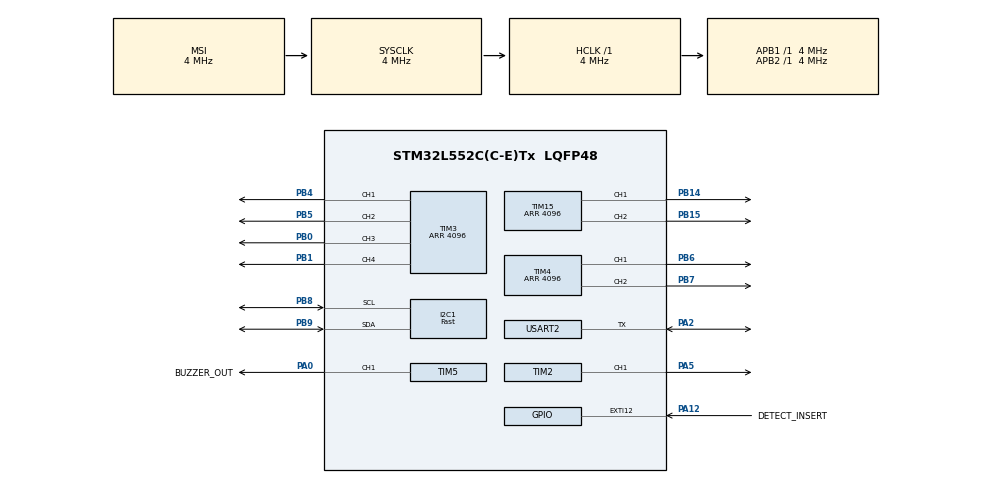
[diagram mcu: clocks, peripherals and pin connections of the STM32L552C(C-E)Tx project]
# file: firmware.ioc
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I2C1.I2C_Speed_Mode=I2C_Fast
I2C1.Timing=0x00000004
Mcu.Family=STM32L5
Mcu.Name=STM32L552C(C-E)Tx
Mcu.Package=LQFP48
NVIC.EXTI12_IRQn=true\:0\:0\:false\:false\:true\:true\:true\:true
NVIC.PriorityGroup=NVIC_PRIORITYGROUP_3
PA0.GPIO_Label=BUZZER_OUT
PA0.Signal=S_TIM5_CH1
PA12.GPIO_Label=DETECT_INSERT
PA12.GPIO_ModeDefaultEXTI=GPIO_MODE_IT_RISING_FALLING
PA12.GPIO_PuPd=GPIO_PULLUP
PA12.Signal=GPXTI12
PA13\ (JTMS/SWDIO).Mode=Serial_Wire
PA13\ (JTMS/SWDIO).Signal=DEBUG_JTMS-SWDIO
PA14\ (JTCK/SWCLK).Mode=Serial_Wire
PA14\ (JTCK/SWCLK).Signal=DEBUG_JTCK-SWCLK
PA2.Mode=Half_duplex(single_wire_mode)
PA2.Signal=USART2_TX
PA5.Signal=S_TIM2_CH1
PB0.Signal=S_TIM3_CH3
PB1.Signal=S_TIM3_CH4
PB14.Signal=S_TIM15_CH1
PB15.Signal=S_TIM15_CH2
PB4\ (NJTRST).Signal=S_TIM3_CH1
PB5.Signal=S_TIM3_CH2
PB6.Signal=S_TIM4_CH1
PB7.Signal=S_TIM4_CH2
PB8.GPIO_Pu=GPIO_PULLUP
PB8.Mode=I2C
PB8.Signal=I2C1_SCL
PB9.GPIO_Pu=GPIO_PULLUP
PB9.Mode=I2C
PB9.Signal=I2C1_SDA
ProjectManager.HeapSize=0x200
ProjectManager.StackSize=0x400
ProjectManager.TargetToolchain=STM32CubeIDE
RCC.AHBFreq_Value=4000000
RCC.APB1Freq_Value=4000000
RCC.APB1TimFreq_Value=4000000
RCC.APB2Freq_Value=4000000
RCC.APB2TimFreq_Value=4000000
RCC.CortexFreq_Value=4000000
RCC.HCLKFreq_Value=4000000
RCC.HSE_VALUE=16000000
RCC.HSI48_VALUE=48000000
RCC.HSI_VALUE=16000000
RCC.LSE_VALUE=32768
RCC.MSI_VALUE=4000000
RCC.PLLM=4
RCC.PLLN=16
RCC.PLLR=RCC_PLLR_DIV8
RCC.PLLSourceVirtual=RCC_PLLSOURCE_HSI
RCC.SYSCLKFreq_VALUE=4000000
RCC.VCOOutputFreq_Value=64000000
SH.S_TIM15_CH1.0=TIM15_CH1,PWM Generation1 CH1
SH.S_TIM15_CH2.0=TIM15_CH2,PWM Generation2 CH2
SH.S_TIM2_CH1.0=TIM2_CH1,PWM Generation1 CH1
SH.S_TIM3_CH1.0=TIM3_CH1,PWM Generation1 CH1
SH.S_TIM3_CH2.0=TIM3_CH2,PWM Generation2 CH2
SH.S_TIM3_CH3.0=TIM3_CH3,PWM Generation3 CH3
SH.S_TIM3_CH4.0=TIM3_CH4,PWM Generation4 CH4
SH.S_TIM4_CH1.0=TIM4_CH1,PWM Generation1 CH1
SH.S_TIM4_CH2.0=TIM4_CH2,PWM Generation2 CH2
SH.S_TIM5_CH1.0=TIM5_CH1,PWM Generation1 CH1
TIM15.Channel-PWM\ Generation1\ CH1=TIM_CHANNEL_1
TIM15.Channel-PWM\ Generation2\ CH2=TIM_CHANNEL_2
TIM15.OCPolarity_1=TIM_OCPOLARITY_LOW
TIM15.OCPolarity_2=TIM_OCPOLARITY_LOW
TIM15.Period=4096
TIM15.Pulse-PWM\ Generation1\ CH1=4095
TIM15.Pulse-PWM\ Generation2\ CH2=0
TIM2.Channel-PWM\ Generation1\ CH1=TIM_CHANNEL_1
TIM2.OCPolarity_1=TIM_OCPOLARITY_LOW
TIM2.Period=4096
TIM2.Pulse-PWM\ Generation1\ CH1=0
TIM3.Channel-PWM\ Generation1\ CH1=TIM_CHANNEL_1
TIM3.Channel-PWM\ Generation2\ CH2=TIM_CHANNEL_2
TIM3.Channel-PWM\ Generation3\ CH3=TIM_CHANNEL_3
TIM3.Channel-PWM\ Generation4\ CH4=TIM_CHANNEL_4
TIM3.OCPolarity_1=TIM_OCPOLARITY_LOW
TIM3.OCPolarity_2=TIM_OCPOLARITY_LOW
TIM3.OCPolarity_3=TIM_OCPOLARITY_LOW
TIM3.OCPolarity_4=TIM_OCPOLARITY_LOW
TIM3.Period=4096
TIM3.Pulse-PWM\ Generation1\ CH1=0
TIM3.Pulse-PWM\ Generation2\ CH2=0
TIM3.Pulse-PWM\ Generation3\ CH3=0
TIM3.Pulse-PWM\ Generation4\ CH4=4095
TIM4.Channel-PWM\ Generation1\ CH1=TIM_CHANNEL_1
TIM4.Channel-PWM\ Generation2\ CH2=TIM_CHANNEL_2
TIM4.OCPolarity_1=TIM_OCPOLARITY_LOW
TIM4.OCPolarity_2=TIM_OCPOLARITY_LOW
TIM4.Period=4096
TIM4.Pulse-PWM\ Generation1\ CH1=0
TIM4.Pulse-PWM\ Generation2\ CH2=0
TIM5.AutoReloadPreload=TIM_AUTORELOAD_PRELOAD_ENABLE
TIM5.Channel-PWM\ Generation1\ CH1=TIM_CHANNEL_1
TIM5.Period=5000
TIM5.Pulse-PWM\ Generation1\ CH1=200
USART2.BaudRate=9600
USART2.VirtualMode-Half_duplex(single_wire_mode)=VM_ASYNC
VP_ICACHE_VS_ICACHE.Mode=DirectMappedCache
VP_PWR_VS_DBSignals.Mode=DisableDeadBatterySignals
VP_PWR_VS_SECSignals.Mode=Security/Privilege
board=custom

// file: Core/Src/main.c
/* USER CODE BEGIN Header */
/**
  ******************************************************************************
  * @file           : main.c
  * @brief          : Main program body
  ******************************************************************************
  * @attention
  *
  * Copyright (c) 2023 STMicroelectronics.
  * All rights reserved.
  *
  * This software is licensed under terms that can be found in the LICENSE file
  * in the root directory of this software component.
  * If no LICENSE file comes with this software, it is provided AS-IS.
  *
  ******************************************************************************
  */
#define SSD1306_MIRROR_VERT
/* USER CODE END Header */
#include "main.h"

/* USER CODE BEGIN Includes */
#include "../../Drivers/SSD1306/ssd1306.h"
#include "../../Drivers/SSD1306/ssd1306_tests.h"
#include "images.h"
/* USER CODE END Includes */

/* USER CODE BEGIN PTD */
#include "math.h"
#include "stdbool.h"
/* USER CODE END PTD */

/* USER CODE BEGIN PD */
const int startSoundDelay = 7;
const int stopSoundDelay = 15;
const int sleepDelay = 100;
/* USER CODE END PD */

I2C_HandleTypeDef hi2c1;

TIM_HandleTypeDef htim2;
TIM_HandleTypeDef htim3;
TIM_HandleTypeDef htim4;
TIM_HandleTypeDef htim5;
TIM_HandleTypeDef htim15;

UART_HandleTypeDef huart2;

void SystemClock_Config(void);
static void MX_GPIO_Init(void);
static void MX_I2C1_Init(void);
static void MX_USART2_UART_Init(void);
static void MX_ICACHE_Init(void);
static void MX_TIM2_Init(void);
static void MX_TIM3_Init(void);
static void MX_TIM4_Init(void);
static void MX_TIM5_Init(void);
static void MX_TIM15_Init(void);

int main(void)
{

  /* MCU Configuration--------------------------------------------------------*/

  /* Reset of all peripherals, Initializes the Flash interface and the Systick. */
  HAL_Init();

  /* Configure the system clock */
  SystemClock_Config();

  /* Initialize all configured peripherals */
  MX_GPIO_Init();
  MX_I2C1_Init();
  MX_USART2_UART_Init();
  MX_ICACHE_Init();
  MX_TIM2_Init();
  MX_TIM3_Init();
  MX_TIM4_Init();
  MX_TIM5_Init();
  MX_TIM15_Init();
  /* USER CODE BEGIN 2 */
  int loops = 0;
  uint32_t lastTime = 0;
  enum Status {
      ERREUR,
      ROCKET
  };
    enum Status status = ERREUR;

    enum PCBStatus {
        PLUGGED,
        UNPLUGGED
    };
    enum PCBStatus oldStatus = PLUGGED;
    enum PCBStatus pcbStatus = UNPLUGGED;

    bool screenConnected = false;
    bool mustUpdateScreen = false;
    bool debouncedStart = true;
  /* USER CODE END 2 */

  /* Infinite loop */
  while (1)
  {

    /* USER CODE BEGIN 3 */

    HAL_TIM_Base_Start(&htim2);
    HAL_TIM_Base_Start(&htim3);
    HAL_TIM_Base_Start(&htim4);
    HAL_TIM_Base_Start(&htim5);
    HAL_TIM_Base_Start(&htim15);

    HAL_TIM_PWM_Start(&htim2, TIM_CHANNEL_1);
    HAL_TIM_PWM_Start(&htim3, TIM_CHANNEL_1);
    HAL_TIM_PWM_Start(&htim3, TIM_CHANNEL_2);
    HAL_TIM_PWM_Start(&htim3, TIM_CHANNEL_3);
    HAL_TIM_PWM_Start(&htim3, TIM_CHANNEL_4);
    HAL_TIM_PWM_Start(&htim4, TIM_CHANNEL_1);
    HAL_TIM_PWM_Start(&htim4, TIM_CHANNEL_2);
    HAL_TIM_PWM_Start(&htim15, TIM_CHANNEL_1);
    HAL_TIM_PWM_Start(&htim15, TIM_CHANNEL_2);

    if (!HAL_GPIO_ReadPin(DETECT_INSERT_GPIO_Port, DETECT_INSERT_Pin)) {
        pcbStatus = PLUGGED;
    } else {
        pcbStatus = UNPLUGGED;
    }

    if (is_screen_connected()) {
        if (!screenConnected) {
            ssd1306_Init();
            ssd1306_Fill(Black);
            ssd1306_UpdateScreen();
            mustUpdateScreen = true;
        }
        screenConnected = true;
    } else {
        screenConnected = false;
    }

    if (oldStatus != pcbStatus && pcbStatus == UNPLUGGED) {
        //debounce
        HAL_Delay(100);
        if (!HAL_GPIO_ReadPin(DETECT_INSERT_GPIO_Port, DETECT_INSERT_Pin)) {
            // Plugged
            continue;
        }
    }

    // PCB status changed!
    if (oldStatus != pcbStatus) {
        oldStatus = pcbStatus;
        loops = 0;
        lastTime = HAL_GetTick();

        // Turn off all leds
        leds_off();

        // Clear screen
        ssd1306_Fill(Black);
        ssd1306_UpdateScreen();

        // Stop any sound
        stop_sound();
    }

    if (pcbStatus == PLUGGED) {
        if (loops < startSoundDelay) {
            set_led(LED1B, 50);
            set_led(LED2B, 100);
            set_led(LED3B, 200);
            // DEBOUNCING
            HAL_Delay(100);
            loops++;
            debouncedStart = false;
            continue;
        } else {
            set_led(LED1B, 0);
            set_led(LED2B, 0);
            set_led(LED3B, 0);
            debouncedStart = true;
        }

        if (loops == startSoundDelay + 3) {
            start_sound(400 * powf(2, 7.0f / 12.0f));
        } else if (loops == startSoundDelay + 6) {
            stop_sound();
        } else if (loops == startSoundDelay + 9) {
            start_sound(400 * powf(2, 7.0f / 12.0f));
        } else if (loops >= startSoundDelay + 12) {
            stop_sound();
        }

        if (loops % 3 == 0) {
            static int the_led = 0;
            the_led = (the_led + 1) % 3;

            set_led(LED1G, the_led == 0 ? 1000 : 0);
            set_led(LED2G, the_led == 1 ? 1000 : 0);
            set_led(LED3G, the_led == 2 ? 1000 : 0);
        }

        int64_t pseudorandom1 = (int64_t) ((double)loops * (double)loops * 164641.73f);
        int64_t pseudorandom2 = (int64_t) ((double)loops * (double)loops * 3046751.73f);

        ssd1306_Fill(Black);
        ssd1306_DrawBitmap(35 - 10 + (pseudorandom1 % 16), pseudorandom2 % 6, rocket_58x58, 58, 58, White);

        ssd1306_UpdateScreen();

        HAL_Delay(20);
    } else { // UNPLUGGED

        float brightness = (1 - (float)loops / (float)sleepDelay);
        // gamma correction
        brightness = powf(brightness, 2.f);
        brightness *= 4095 / 3;

        if (loops >= sleepDelay || !debouncedStart) {
            stop_everything();
            // Disable systick so that it doesn't wake up the processor every ms and doesn't keep counting.
            // Hopefully will prevent some battery drain.
            HAL_NVIC_DisableIRQ(SysTick_IRQn);
            sleep();
            HAL_NVIC_EnableIRQ(SysTick_IRQn);
            continue;
        }

        if (loops == stopSoundDelay + 3) {
            start_sound(400);
        } else if (loops == stopSoundDelay + 12) {
            stop_sound();
        } else if (loops == stopSoundDelay + 20) {
            start_sound(400 * powf(2, 3.0f / 12.0f));
        } else if (loops == stopSoundDelay + 30) {
            start_sound(400 * powf(2, -3.0f / 12.0f));
        } else if (loops >= stopSoundDelay + 40) {
            stop_sound();
        }

        if (loops <= 1 || mustUpdateScreen) {
            ssd1306_SetCursor(30, 46);
            ssd1306_WriteString("ERROR", Font_11x18, White);
            ssd1306_DrawBitmap(40, 0, warning_48x48, 48, 48, White);

            ssd1306_UpdateScreen();

            mustUpdateScreen = false;
        }

        if (loops % 4 == 0) {
            set_led(LED1R, 0);
            set_led(LED2R, 0);
        } else if (loops % 2 == 0) {
            set_led(LED1R, brightness);
            set_led(LED2R, brightness);
        }
        HAL_Delay(20);
    }

//    if (HAL_GPIO_ReadPin(DETECT_INSERT_GPIO_Port, DETECT_INSERT_Pin)) {
//
//    }

//    if (HAL_GPIO_ReadPin(DETECT_INSERT_GPIO_Port, DETECT_INSERT_Pin)) {
//        HAL_GPIO_WritePin(LED3_GPIO_Port, LED3_Pin, GPIO_PIN_SET);
//        HAL_GPIO_WritePin(LED6_GPIO_Port, LED6_Pin, GPIO_PIN_SET);
//        HAL_GPIO_WritePin(LED5_GPIO_Port, LED2_Pin, GPIO_PIN_SET);
//        HAL_GPIO_WritePin(LED5_GPIO_Port, LED5_Pin, GPIO_PIN_SET);
//
//        HAL_GPIO_TogglePin(LED2_GPIO_Port, LED2_Pin);
//        HAL_Delay(30);
//        HAL_GPIO_TogglePin(LED5_GPIO_Port, LED5_Pin);
//        HAL_Delay(200);
//
//        HAL_GPIO_TogglePin(LED2_GPIO_Port, LED2_Pin);
//        HAL_GPIO_TogglePin(LED5_GPIO_Port, LED5_Pin);
//        HAL_Delay(200);
//    } else {
//        status = ERREUR;
//
//        if (loops % 3 == 0) {
//            HAL_GPIO_TogglePin(LED3_GPIO_Port, LED3_Pin);
//            HAL_GPIO_TogglePin(LED6_GPIO_Port, LED6_Pin);
//        }
//        HAL_Delay(20);
//    } //else if (loops == 5) {
//        // Turn them off
//        HAL_GPIO_WritePin(LED2_GPIO_Port, LED2_Pin, GPIO_PIN_SET);
//        HAL_GPIO_WritePin(LED5_GPIO_Port, LED5_Pin, GPIO_PIN_SET);
//
//        // Open green ones
//        HAL_GPIO_WritePin(LED3_GPIO_Port, LED3_Pin, GPIO_PIN_RESET);
//
//        status = ROCKET;
//    } else {
//        if (loops % 3 == 0) {
//            HAL_GPIO_TogglePin(LED3_GPIO_Port, LED3_Pin);
//            HAL_GPIO_TogglePin(LED6_GPIO_Port, LED6_Pin);
//        }
//        HAL_Delay(20);
//    }
//
//    if (loops % 4 == 0 && status == ERREUR) {
//        ssd1306_Init();
//    }
//
//    if (status == ERREUR && loops % 4 == 0) {
//        ssd1306_SetCursor(30, 46);
//        ssd1306_WriteString("ERROR", Font_11x18, White);
//        ssd1306_DrawBitmap(40, 0, warning_48x48, 48, 48, White);
//
//        ssd1306_UpdateScreen();
//    } else if (status == ROCKET) {
//        int64_t pseudorandom1 = (int64_t) ((double)loops * (double)loops * 164641.73f);
//        int64_t pseudorandom2 = (int64_t) ((double)loops * (double)loops * 3046751.73f);
//
//        ssd1306_Fill(Black);
//        ssd1306_DrawBitmap(35 - 10 + (pseudorandom1 % 16), pseudorandom2 % 6, rocket_58x58, 58, 58, White);
//
//        ssd1306_UpdateScreen();
//    }

    loops++;
  }
  /* USER CODE END 3 */
}

void SystemClock_Config(void)
{
  RCC_OscInitTypeDef RCC_OscInitStruct = {0};
  RCC_ClkInitTypeDef RCC_ClkInitStruct = {0};

  /** Configure the main internal regulator output voltage
  */
  if (HAL_PWREx_ControlVoltageScaling(PWR_REGULATOR_VOLTAGE_SCALE2) != HAL_OK)
  {
    Error_Handler();
  }

  /** Initializes the RCC Oscillators according to the specified parameters
  * in the RCC_OscInitTypeDef structure.
  */
  RCC_OscInitStruct.OscillatorType = RCC_OSCILLATORTYPE_MSI;
  RCC_OscInitStruct.MSIState = RCC_MSI_ON;
  RCC_OscInitStruct.MSICalibrationValue = RCC_MSICALIBRATION_DEFAULT;
  RCC_OscInitStruct.MSIClockRange = RCC_MSIRANGE_6;
  RCC_OscInitStruct.PLL.PLLState = RCC_PLL_NONE;
  if (HAL_RCC_OscConfig(&RCC_OscInitStruct) != HAL_OK)
  {
    Error_Handler();
  }

  /** Initializes the CPU, AHB and APB buses clocks
  */
  RCC_ClkInitStruct.ClockType = RCC_CLOCKTYPE_HCLK|RCC_CLOCKTYPE_SYSCLK
                              |RCC_CLOCKTYPE_PCLK1|RCC_CLOCKTYPE_PCLK2;
  RCC_ClkInitStruct.SYSCLKSource = RCC_SYSCLKSOURCE_MSI;
  RCC_ClkInitStruct.AHBCLKDivider = RCC_SYSCLK_DIV1;
  RCC_ClkInitStruct.APB1CLKDivider = RCC_HCLK_DIV1;
  RCC_ClkInitStruct.APB2CLKDivider = RCC_HCLK_DIV1;

  if (HAL_RCC_ClockConfig(&RCC_ClkInitStruct, FLASH_LATENCY_0) != HAL_OK)
  {
    Error_Handler();
  }
}

static void MX_I2C1_Init(void)
{

  hi2c1.Instance = I2C1;
  hi2c1.Init.Timing = 0x00000004;
  hi2c1.Init.OwnAddress1 = 0;
  hi2c1.Init.AddressingMode = I2C_ADDRESSINGMODE_7BIT;
  hi2c1.Init.DualAddressMode = I2C_DUALADDRESS_DISABLE;
  hi2c1.Init.OwnAddress2 = 0;
  hi2c1.Init.OwnAddress2Masks = I2C_OA2_NOMASK;
  hi2c1.Init.GeneralCallMode = I2C_GENERALCALL_DISABLE;
  hi2c1.Init.NoStretchMode = I2C_NOSTRETCH_DISABLE;
  if (HAL_I2C_Init(&hi2c1) != HAL_OK)
  {
    Error_Handler();
  }

  /** Configure Analogue filter
  */
  if (HAL_I2CEx_ConfigAnalogFilter(&hi2c1, I2C_ANALOGFILTER_ENABLE) != HAL_OK)
  {
    Error_Handler();
  }

  /** Configure Digital filter
  */
  if (HAL_I2CEx_ConfigDigitalFilter(&hi2c1, 0) != HAL_OK)
  {
    Error_Handler();
  }

}

static void MX_ICACHE_Init(void)
{

  /** Enable instruction cache in 1-way (direct mapped cache)
  */
  if (HAL_ICACHE_ConfigAssociativityMode(ICACHE_1WAY) != HAL_OK)
  {
    Error_Handler();
  }
  if (HAL_ICACHE_Enable() != HAL_OK)
  {
    Error_Handler();
  }

}

static void MX_TIM2_Init(void)
{

  TIM_MasterConfigTypeDef sMasterConfig = {0};
  TIM_OC_InitTypeDef sConfigOC = {0};

  htim2.Instance = TIM2;
  htim2.Init.Prescaler = 0;
  htim2.Init.CounterMode = TIM_COUNTERMODE_UP;
  htim2.Init.Period = 4096;
  htim2.Init.ClockDivision = TIM_CLOCKDIVISION_DIV1;
  htim2.Init.AutoReloadPreload = TIM_AUTORELOAD_PRELOAD_DISABLE;
  if (HAL_TIM_PWM_Init(&htim2) != HAL_OK)
  {
    Error_Handler();
  }
  sMasterConfig.MasterOutputTrigger = TIM_TRGO_RESET;
  sMasterConfig.MasterSlaveMode = TIM_MASTERSLAVEMODE_DISABLE;
  if (HAL_TIMEx_MasterConfigSynchronization(&htim2, &sMasterConfig) != HAL_OK)
  {
    Error_Handler();
  }
  sConfigOC.OCMode = TIM_OCMODE_PWM1;
  sConfigOC.Pulse = 0;
  sConfigOC.OCPolarity = TIM_OCPOLARITY_LOW;
  sConfigOC.OCFastMode = TIM_OCFAST_DISABLE;
  if (HAL_TIM_PWM_ConfigChannel(&htim2, &sConfigOC, TIM_CHANNEL_1) != HAL_OK)
  {
    Error_Handler();
  }
  HAL_TIM_MspPostInit(&htim2);

}

static void MX_TIM3_Init(void)
{

  TIM_MasterConfigTypeDef sMasterConfig = {0};
  TIM_OC_InitTypeDef sConfigOC = {0};

  htim3.Instance = TIM3;
  htim3.Init.Prescaler = 0;
  htim3.Init.CounterMode = TIM_COUNTERMODE_UP;
  htim3.Init.Period = 4096;
  htim3.Init.ClockDivision = TIM_CLOCKDIVISION_DIV1;
  htim3.Init.AutoReloadPreload = TIM_AUTORELOAD_PRELOAD_DISABLE;
  if (HAL_TIM_PWM_Init(&htim3) != HAL_OK)
  {
    Error_Handler();
  }
  sMasterConfig.MasterOutputTrigger = TIM_TRGO_RESET;
  sMasterConfig.MasterSlaveMode = TIM_MASTERSLAVEMODE_DISABLE;
  if (HAL_TIMEx_MasterConfigSynchronization(&htim3, &sMasterConfig) != HAL_OK)
  {
    Error_Handler();
  }
  sConfigOC.OCMode = TIM_OCMODE_PWM1;
  sConfigOC.Pulse = 0;
  sConfigOC.OCPolarity = TIM_OCPOLARITY_LOW;
  sConfigOC.OCFastMode = TIM_OCFAST_DISABLE;
  if (HAL_TIM_PWM_ConfigChannel(&htim3, &sConfigOC, TIM_CHANNEL_1) != HAL_OK)
  {
    Error_Handler();
  }
  if (HAL_TIM_PWM_ConfigChannel(&htim3, &sConfigOC, TIM_CHANNEL_2) != HAL_OK)
  {
    Error_Handler();
  }
  if (HAL_TIM_PWM_ConfigChannel(&htim3, &sConfigOC, TIM_CHANNEL_3) != HAL_OK)
  {
    Error_Handler();
  }
  sConfigOC.Pulse = 4095;
  if (HAL_TIM_PWM_ConfigChannel(&htim3, &sConfigOC, TIM_CHANNEL_4) != HAL_OK)
  {
    Error_Handler();
  }
  HAL_TIM_MspPostInit(&htim3);

}

static void MX_TIM4_Init(void)
{

  TIM_MasterConfigTypeDef sMasterConfig = {0};
  TIM_OC_InitTypeDef sConfigOC = {0};

  htim4.Instance = TIM4;
  htim4.Init.Prescaler = 0;
  htim4.Init.CounterMode = TIM_COUNTERMODE_UP;
  htim4.Init.Period = 4096;
  htim4.Init.ClockDivision = TIM_CLOCKDIVISION_DIV1;
  htim4.Init.AutoReloadPreload = TIM_AUTORELOAD_PRELOAD_DISABLE;
  if (HAL_TIM_PWM_Init(&htim4) != HAL_OK)
  {
    Error_Handler();
  }
  sMasterConfig.MasterOutputTrigger = TIM_TRGO_RESET;
  sMasterConfig.MasterSlaveMode = TIM_MASTERSLAVEMODE_DISABLE;
  if (HAL_TIMEx_MasterConfigSynchronization(&htim4, &sMasterConfig) != HAL_OK)
  {
    Error_Handler();
  }
  sConfigOC.OCMode = TIM_OCMODE_PWM1;
  sConfigOC.Pulse = 0;
  sConfigOC.OCPolarity = TIM_OCPOLARITY_LOW;
  sConfigOC.OCFastMode = TIM_OCFAST_DISABLE;
  if (HAL_TIM_PWM_ConfigChannel(&htim4, &sConfigOC, TIM_CHANNEL_1) != HAL_OK)
  {
    Error_Handler();
  }
  if (HAL_TIM_PWM_ConfigChannel(&htim4, &sConfigOC, TIM_CHANNEL_2) != HAL_OK)
  {
    Error_Handler();
  }
  HAL_TIM_MspPostInit(&htim4);

}

static void MX_TIM5_Init(void)
{

  TIM_MasterConfigTypeDef sMasterConfig = {0};
  TIM_OC_InitTypeDef sConfigOC = {0};

  htim5.Instance = TIM5;
  htim5.Init.Prescaler = 0;
  htim5.Init.CounterMode = TIM_COUNTERMODE_UP;
  htim5.Init.Period = 5000;
  htim5.Init.ClockDivision = TIM_CLOCKDIVISION_DIV1;
  htim5.Init.AutoReloadPreload = TIM_AUTORELOAD_PRELOAD_ENABLE;
  if (HAL_TIM_PWM_Init(&htim5) != HAL_OK)
  {
    Error_Handler();
  }
  sMasterConfig.MasterOutputTrigger = TIM_TRGO_RESET;
  sMasterConfig.MasterSlaveMode = TIM_MASTERSLAVEMODE_DISABLE;
  if (HAL_TIMEx_MasterConfigSynchronization(&htim5, &sMasterConfig) != HAL_OK)
  {
    Error_Handler();
  }
  sConfigOC.OCMode = TIM_OCMODE_PWM1;
  sConfigOC.Pulse = 200;
  sConfigOC.OCPolarity = TIM_OCPOLARITY_HIGH;
  sConfigOC.OCFastMode = TIM_OCFAST_DISABLE;
  if (HAL_TIM_PWM_ConfigChannel(&htim5, &sConfigOC, TIM_CHANNEL_1) != HAL_OK)
  {
    Error_Handler();
  }
  HAL_TIM_MspPostInit(&htim5);

}

static void MX_TIM15_Init(void)
{

  TIM_MasterConfigTypeDef sMasterConfig = {0};
  TIM_OC_InitTypeDef sConfigOC = {0};
  TIM_BreakDeadTimeConfigTypeDef sBreakDeadTimeConfig = {0};

  htim15.Instance = TIM15;
  htim15.Init.Prescaler = 0;
  htim15.Init.CounterMode = TIM_COUNTERMODE_UP;
  htim15.Init.Period = 4096;
  htim15.Init.ClockDivision = TIM_CLOCKDIVISION_DIV1;
  htim15.Init.RepetitionCounter = 0;
  htim15.Init.AutoReloadPreload = TIM_AUTORELOAD_PRELOAD_DISABLE;
  if (HAL_TIM_PWM_Init(&htim15) != HAL_OK)
  {
    Error_Handler();
  }
  sMasterConfig.MasterOutputTrigger = TIM_TRGO_RESET;
  sMasterConfig.MasterSlaveMode = TIM_MASTERSLAVEMODE_DISABLE;
  if (HAL_TIMEx_MasterConfigSynchronization(&htim15, &sMasterConfig) != HAL_OK)
  {
    Error_Handler();
  }
  sConfigOC.OCMode = TIM_OCMODE_PWM1;
  sConfigOC.Pulse = 4095;
  sConfigOC.OCPolarity = TIM_OCPOLARITY_LOW;
  sConfigOC.OCNPolarity = TIM_OCNPOLARITY_HIGH;
  sConfigOC.OCFastMode = TIM_OCFAST_DISABLE;
  sConfigOC.OCIdleState = TIM_OCIDLESTATE_RESET;
  sConfigOC.OCNIdleState = TIM_OCNIDLESTATE_RESET;
  if (HAL_TIM_PWM_ConfigChannel(&htim15, &sConfigOC, TIM_CHANNEL_1) != HAL_OK)
  {
    Error_Handler();
  }
  sConfigOC.Pulse = 0;
  if (HAL_TIM_PWM_ConfigChannel(&htim15, &sConfigOC, TIM_CHANNEL_2) != HAL_OK)
  {
    Error_Handler();
  }
  sBreakDeadTimeConfig.OffStateRunMode = TIM_OSSR_DISABLE;
  sBreakDeadTimeConfig.OffStateIDLEMode = TIM_OSSI_DISABLE;
  sBreakDeadTimeConfig.LockLevel = TIM_LOCKLEVEL_OFF;
  sBreakDeadTimeConfig.DeadTime = 0;
  sBreakDeadTimeConfig.BreakState = TIM_BREAK_DISABLE;
  sBreakDeadTimeConfig.BreakPolarity = TIM_BREAKPOLARITY_HIGH;
  sBreakDeadTimeConfig.BreakFilter = 0;
  sBreakDeadTimeConfig.AutomaticOutput = TIM_AUTOMATICOUTPUT_DISABLE;
  if (HAL_TIMEx_ConfigBreakDeadTime(&htim15, &sBreakDeadTimeConfig) != HAL_OK)
  {
    Error_Handler();
  }
  HAL_TIM_MspPostInit(&htim15);

}

static void MX_USART2_UART_Init(void)
{

  huart2.Instance = USART2;
  huart2.Init.BaudRate = 9600;
  huart2.Init.WordLength = UART_WORDLENGTH_8B;
  huart2.Init.StopBits = UART_STOPBITS_1;
  huart2.Init.Parity = UART_PARITY_NONE;
  huart2.Init.Mode = UART_MODE_TX_RX;
  huart2.Init.HwFlowCtl = UART_HWCONTROL_NONE;
  huart2.Init.OverSampling = UART_OVERSAMPLING_16;
  huart2.Init.OneBitSampling = UART_ONE_BIT_SAMPLE_DISABLE;
  huart2.Init.ClockPrescaler = UART_PRESCALER_DIV1;
  huart2.AdvancedInit.AdvFeatureInit = UART_ADVFEATURE_NO_INIT;
  if (HAL_HalfDuplex_Init(&huart2) != HAL_OK)
  {
    Error_Handler();
  }
  if (HAL_UARTEx_SetTxFifoThreshold(&huart2, UART_TXFIFO_THRESHOLD_1_8) != HAL_OK)
  {
    Error_Handler();
  }
  if (HAL_UARTEx_SetRxFifoThreshold(&huart2, UART_RXFIFO_THRESHOLD_1_8) != HAL_OK)
  {
    Error_Handler();
  }
  if (HAL_UARTEx_DisableFifoMode(&huart2) != HAL_OK)
  {
    Error_Handler();
  }

}

static void MX_GPIO_Init(void)
{
  GPIO_InitTypeDef GPIO_InitStruct = {0};

  /* GPIO Ports Clock Enable */
  __HAL_RCC_GPIOA_CLK_ENABLE();
  __HAL_RCC_GPIOB_CLK_ENABLE();

  /*Configure GPIO pin : DETECT_INSERT_Pin */
  GPIO_InitStruct.Pin = DETECT_INSERT_Pin;
  GPIO_InitStruct.Mode = GPIO_MODE_IT_RISING_FALLING;
  GPIO_InitStruct.Pull = GPIO_PULLUP;
  HAL_GPIO_Init(DETECT_INSERT_GPIO_Port, &GPIO_InitStruct);

  /* EXTI interrupt init*/
  HAL_NVIC_SetPriority(EXTI12_IRQn, 0, 0);
  HAL_NVIC_EnableIRQ(EXTI12_IRQn);

}

void Error_Handler(void)
{
  __disable_irq();
  while (1)
  {
  }
}
